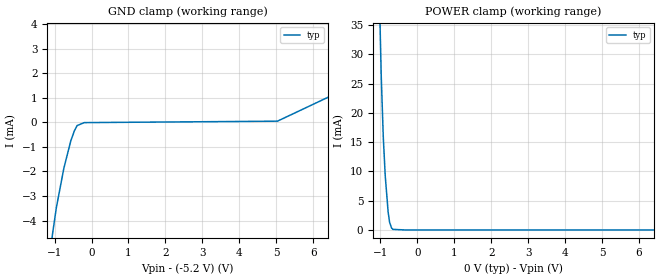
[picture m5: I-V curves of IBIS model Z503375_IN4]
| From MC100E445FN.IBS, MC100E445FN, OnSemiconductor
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| (C) COPYRIGHT 1993-2000
| MENTOR GRAPHICS CORPORATION
| ICX STANDARD LIBRARY, ICX PROJECT MODELING,
| ICX CUSTOM MODELING, ICX VENDOR MODEL
| ALL RIGHTS RESERVED.
| THE FOLLOWING ARE TRADEMARKS OR SERVICE MARKS OF
| MENTOR GRAPHICS CORPORATION:ICX (R), ICX STANDARD
| LIBRARY(R), ICX PROJECT MODELING(R), ICX CUSTOM
| MODELING(R), qualityIBIS(TM), MODELVIEWER(TM),
| AND MODELEDITOR(TM)
| ALL COPIES OF SOFTWARE, INCLUDING BUT NOT LIMITED TO
| ANY MODIFICATIONS, ENHANCEMENTS OR DERIVATIVE WORKS,
| MUST CONTAIN ALL MENTOR GRAPHICS CORPORATION'S
| NOTICES AND LEGENDS, INCLUDING THOSE EMBEDDED IN
| SOFTWARE AND THOSE AFFIXED TO SOFTWARE MEDIUM
| AND CONTAINER, AS RECEIVED FROM MENTOR GRAPHICS
| CORPORATION.
| Model Application Version 1.89 2/18/99.
[Model] Z503375_IN4
Model_type Input_ECL
Vinl = -1.475V
Vinh = -1.165V
C_comp 4.000pF NA NA
| variable typ   min   max
[Voltage Range] -5.200V NA NA
[GND Clamp Reference] -5.200V NA NA
[POWER Clamp Reference] 0.000V NA NA
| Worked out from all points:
|   GND clamp passes 1 mA (typ) near -0.60 V on its own axis
|   POWER clamp passes 1 mA (typ) near -0.73 V on its own axis
[GND Clamp]
-5.2V     -94.39mA   NA         NA
-1.059V   -4.584mA   NA         NA
-953mV    -3.482mA   NA         NA
-750mV    -1.879mA   NA         NA
-562mV    -761.5uA   NA         NA
-464mV    -348.9uA   NA         NA
-389mV    -133.9uA   NA         NA
-194.5mV  -15.17uA   NA         NA
5.032V    42.97uA    NA         NA
10.4V     3.852mA    NA         NA
[POWER Clamp]
-5.2V     2.089A     NA         NA
-1.089V   56.4mA     NA         NA
-976.5mV  26.15mA    NA         NA
-920.9mV  15.7mA     NA         NA
-868.9mV  9.251mA    NA         NA
-790.9mV  3.094mA    NA         NA
-751.6mV  1.326mA    NA         NA
-698.1mV  342.3uA    NA         NA
-661mV    106uA      NA         NA
-330.5mV  0A         NA         NA
10.4V     0A         NA         NA
